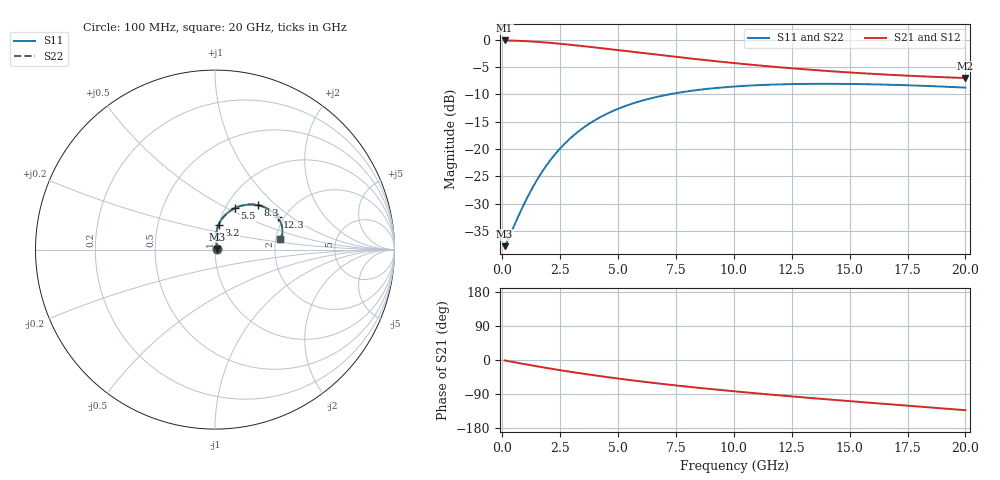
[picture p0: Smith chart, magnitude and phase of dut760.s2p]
! Touchstone file exported from HFSS 2024.1.0
!  File:  C:/UserFiles/LocalFiles/RDL_TSV_Batchsim/temp_RDL_TSV_760_1779900104.aedt
!  Generated:  01:02:16 AM May 28, 2026
!  Design:  RDL_TSV
!  Project:  temp_RDL_TSV_760_1779900104
!  Setup:  Setup1
!  Solution:  Sweep
! Variables:
!  dtsv = 5.18um
!  hbump = 3um
!  htsv = 90.14um
!  ldown = 367.54um
!  lrdl = 113.09um
!  p = 40
!  p1 = 49.6um
!  rhole = 10um
!  subl = 1554.98um
!  t = 450um
!  tdown = 4.09um
!  trdl = 2.84um
!  viad = 10um
!  wdown = 12.29um
!  wrdl = 27.24um
!  xbump = 18um
# GHz S MA R 50.000000
! Terminal data exported
! Port[1] = TM1_1_T1
! Port[2] = TM1_4_T1
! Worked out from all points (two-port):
!   200 points, 100 MHz to 20 GHz, reference 50 ohm
!   highest |S21| = -0.11 dB at 100 MHz (marker M1); lowest = -7.0 dB at 20 GHz (marker M2)
!   |S21| within 3 dB of the highest: start of sweep to 7.496 GHz
!   lowest |S11| = -37.8 dB at 100 MHz (marker M3), VSWR 1.03, Z = 51.3 + j0.332 ohm
!   |S11| at or under -10 dB: start of sweep to 7.182 GHz
!   |S22| runs from -37.8 to -8.0 dB; largest |S21 - S12| = 8.7e-15
!   S11 on the Smith chart (normalised r, x): 100 MHz: 1.03, +0.01; 3.2 GHz: 1.00, +0.28; 5.5 GHz: 1.11, +0.55; 8.3 GHz: 1.38, +0.77; 12.3 GHz: 1.85, +0.79; 20 GHz: 2.10, +0.28
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0.1  0.01291 14.5  0.9873 -1.2  0.9873 -1.2  0.01291 14.5
! Gamma 0 0 0 0
! Port Impedance 50 0 50 0
0.2  0.0141 26.8  0.9867 -2.3  0.9867 -2.3  0.0141 26.8
0.7  0.02445 62.3  0.98 -8.0  0.98 -8.0  0.02445 62.3
1  0.0333 73.2  0.9736 -11.3  0.9736 -11.3  0.03329 73.2
1.3  0.04407 79.9  0.9655 -14.6  0.9655 -14.6  0.04407 79.9
1.6  0.05656 83.6  0.9559 -17.7  0.9559 -17.7  0.05657 83.6
2  0.07542 85.6  0.9411 -21.9  0.9411 -21.9  0.07543 85.7
2.4  0.0961 85.5  0.9248 -25.9  0.9248 -25.9  0.09611 85.5
2.8  0.1179 84.0  0.9074 -29.8  0.9074 -29.8  0.1179 84.0
3.2  0.1401 81.7  0.8893 -33.5  0.8893 -33.5  0.1401 81.8
3.5  0.1567 79.7  0.8755 -36.3  0.8755 -36.3  0.1567 79.7
3.9  0.1785 76.8  0.8568 -39.8  0.8568 -39.8  0.1785 76.8
4.4  0.2046 72.9  0.8334 -44.1  0.8334 -44.1  0.2046 72.9
5.5  0.256 64.4  0.7829 -52.9  0.7829 -52.9  0.2561 64.4
6.8  0.3045 55.1  0.7268 -62.4  0.7268 -62.4  0.3046 55.1
8.3  0.3447 45.8  0.6689 -72.3  0.6689 -72.3  0.3448 45.8
10.1  0.375 36.4  0.6101 -83.1  0.6101 -83.1  0.3752 36.4
12.3  0.3927 27.3  0.5534 -95.0  0.5534 -95.0  0.3928 27.3
13.4  0.3956 23.5  0.5305 -100.7  0.5305 -100.7  0.3958 23.5
15  0.3947 18.8  0.5026 -108.6  0.5026 -108.6  0.3949 18.8
16.7  0.3884 14.6  0.4791 -116.8  0.4791 -116.8  0.3886 14.6
20  0.3655 9.1  0.447 -132.4  0.447 -132.4  0.3658 9.1
